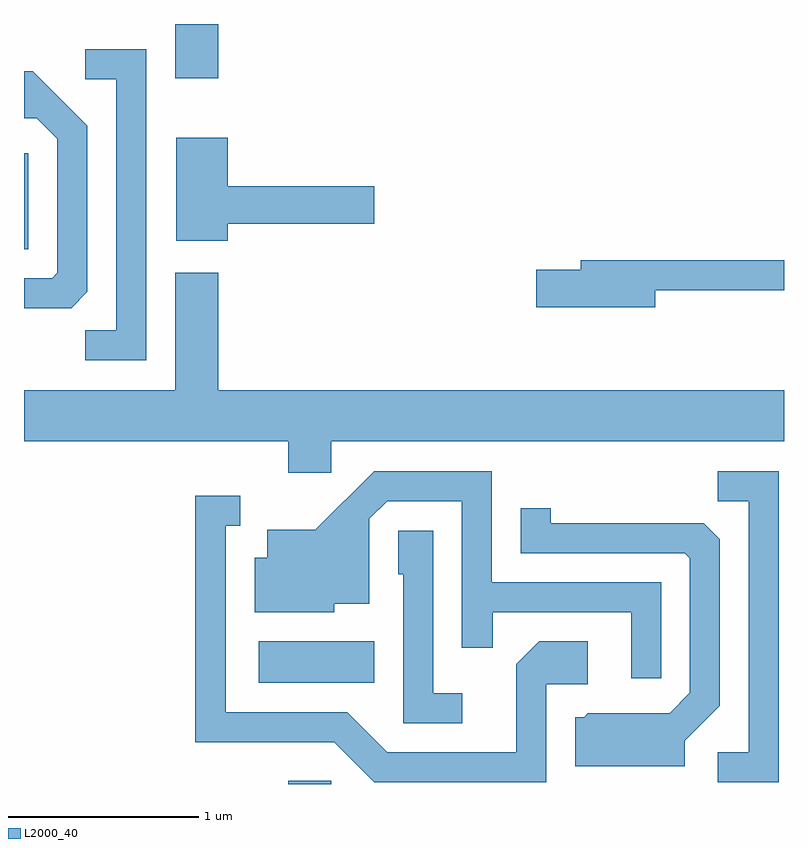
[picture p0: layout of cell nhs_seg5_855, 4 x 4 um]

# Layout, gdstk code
import gdstk
lib = gdstk.Library(unit=1e-6, precision=1e-09)
def R(c, l, rs):  # rectangles x0, y0, x1, y1
    for r in rs: c.add(gdstk.rectangle(r[:2], r[2:], *l))
def P(c, l, *ps):  # polygons
    for p in ps: c.add(gdstk.Polygon(p, *l))
L2000_40 = (2000, 40)

nhs_seg5_855 = lib.new_cell('nhs_seg5_855')
R(nhs_seg5_855, L2000_40, [(211.001,1486.072,211.229,1486.089), (210.846,1486.606,211.454,1486.824), (209.611,1488.886,209.634,1489.393), (210.406,1489.786,210.634,1490.072)])
P(nhs_seg5_855, L2000_40, [(210.254,1489.939),(209.933,1489.939),(209.933,1489.781),(210.096,1489.781),(210.096,1488.459),(209.933,1488.459),(209.933,1488.301),(210.254,1488.301)],
  [(209.944,1488.662),(209.944,1489.537),(209.657,1489.824),(209.611,1489.824),(209.611,1489.576),(209.679,1489.576),(209.786,1489.469),(209.786,1488.762),(209.759,1488.734),(209.611,1488.734),(209.611,1488.576),(209.859,1488.576)],
  [(210.684,1489.021),(211.454,1489.021),(211.454,1489.219),(210.684,1489.219),(210.684,1489.474),(210.411,1489.474),(210.411,1488.931),(210.684,1488.931)],
  [(212.934,1488.671),(213.611,1488.671),(213.611,1488.829),(212.541,1488.829),(212.541,1488.779),(212.306,1488.779),(212.306,1488.581),(212.934,1488.581)],
  [(211.229,1487.876),(213.611,1487.876),(213.611,1488.144),(210.634,1488.144),(210.634,1488.764),(210.406,1488.764),(210.406,1488.144),(209.611,1488.144),(209.611,1487.876),(211.001,1487.876),(211.001,1487.711),(211.229,1487.711)],
  [(212.964,1487.134),(212.074,1487.134),(212.074,1487.719),(211.454,1487.719),(211.144,1487.409),(210.891,1487.409),(210.891,1487.264),(210.826,1487.264),(210.826,1486.976),(211.244,1486.976),(211.244,1487.021),(211.429,1487.021),(211.429,1487.469),(211.522,1487.561),(211.916,1487.561),(211.916,1486.788),(212.079,1486.788),(212.079,1486.976),(212.806,1486.976),(212.806,1486.628),(212.964,1486.628)],
  [(213.584,1487.719),(213.263,1487.719),(213.263,1487.561),(213.426,1487.561),(213.426,1486.239),(213.263,1486.239),(213.263,1486.081),(213.584,1486.081)],
  [(212.359,1486.596),(212.579,1486.596),(212.579,1486.824),(212.324,1486.824),(212.201,1486.702),(212.201,1486.239),(211.522,1486.239),(211.312,1486.449),(210.674,1486.449),(210.674,1487.431),(210.748,1487.431),(210.748,1487.589),(210.511,1487.589),(210.511,1486.291),(211.244,1486.291),(211.454,1486.081),(212.359,1486.081)],
  [(213.089,1486.299),(213.274,1486.484),(213.274,1487.359),(213.189,1487.444),(212.384,1487.444),(212.384,1487.523),(212.226,1487.523),(212.226,1487.286),(213.089,1487.286),(213.116,1487.259),(213.116,1486.552),(213.009,1486.444),(212.579,1486.444),(212.559,1486.424),(212.511,1486.424),(212.511,1486.166),(213.089,1486.166)],
  [(211.918,1486.549),(211.764,1486.549),(211.764,1487.404),(211.581,1487.404),(211.581,1487.176),(211.606,1487.176),(211.606,1486.391),(211.918,1486.391)])

lib.write_gds('nhs_seg5_855.gds')
